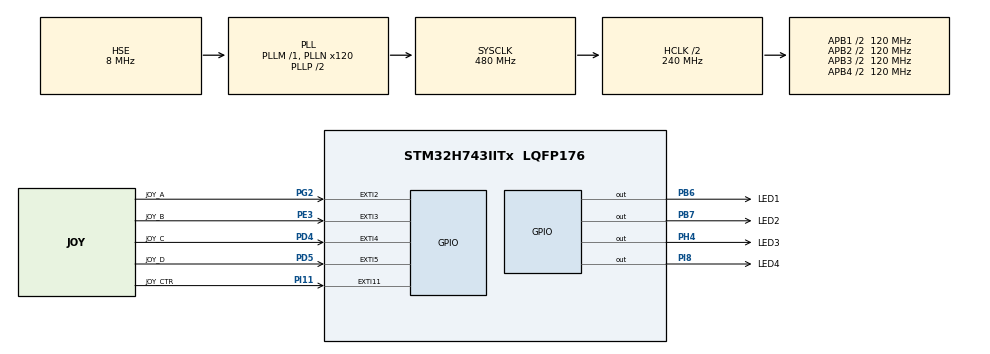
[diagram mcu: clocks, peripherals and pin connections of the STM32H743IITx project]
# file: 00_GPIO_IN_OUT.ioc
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CORTEX_M7.default_mode_Activation=1
Mcu.Family=STM32H7
Mcu.Name=STM32H743IITx
Mcu.Package=LQFP176
NVIC.EXTI15_10_IRQn=true\:0\:0\:false\:false\:true\:true\:true\:true
NVIC.EXTI2_IRQn=true\:0\:0\:false\:false\:true\:true\:true\:true
NVIC.EXTI3_IRQn=true\:0\:0\:false\:false\:true\:true\:true\:true
NVIC.EXTI4_IRQn=true\:0\:0\:false\:false\:true\:true\:true\:true
NVIC.EXTI9_5_IRQn=true\:0\:0\:false\:false\:true\:true\:true\:true
NVIC.PriorityGroup=NVIC_PRIORITYGROUP_4
PB6.GPIO_Label=LED1
PB6.Signal=GPIO_Output
PB7.GPIO_Label=LED2
PB7.Signal=GPIO_Output
PD4.GPIO_Label=JOY_C
PD4.GPIO_ModeDefaultEXTI=GPIO_MODE_IT_FALLING
PD4.GPIO_PuPd=GPIO_PULLUP
PD4.Signal=GPXTI4
PD5.GPIO_Label=JOY_D
PD5.GPIO_ModeDefaultEXTI=GPIO_MODE_IT_FALLING
PD5.GPIO_PuPd=GPIO_PULLUP
PD5.Signal=GPXTI5
PE3.GPIO_Label=JOY_B
PE3.GPIO_ModeDefaultEXTI=GPIO_MODE_IT_FALLING
PE3.GPIO_PuPd=GPIO_PULLUP
PE3.Signal=GPXTI3
PG2.GPIO_Label=JOY_A
PG2.GPIO_ModeDefaultEXTI=GPIO_MODE_IT_FALLING
PG2.GPIO_PuPd=GPIO_PULLUP
PG2.Signal=GPXTI2
PH0-OSC_IN\ (PH0).Mode=HSE-External-Oscillator
PH0-OSC_IN\ (PH0).Signal=RCC_OSC_IN
PH1-OSC_OUT\ (PH1).Mode=HSE-External-Oscillator
PH1-OSC_OUT\ (PH1).Signal=RCC_OSC_OUT
PH4.GPIO_Label=LED3
PH4.Signal=GPIO_Output
PI11.GPIO_Label=JOY_CTR
PI11.GPIO_ModeDefaultEXTI=GPIO_MODE_IT_FALLING
PI11.GPIO_PuPd=GPIO_PULLUP
PI11.Signal=GPXTI11
PI8.GPIO_Label=LED4
PI8.Signal=GPIO_Output
ProjectManager.HeapSize=0x200
ProjectManager.StackSize=0x400
ProjectManager.TargetToolchain=Makefile
RCC.ADCFreq_Value=16125000
RCC.APB1Freq_Value=120000000
RCC.APB2Freq_Value=120000000
RCC.APB3Freq_Value=120000000
RCC.APB4Freq_Value=120000000
RCC.CortexFreq_Value=480000000
RCC.D1PPRE=RCC_APB3_DIV2
RCC.D2PPRE1=RCC_APB1_DIV2
RCC.D2PPRE2=RCC_APB2_DIV2
RCC.D3PPRE=RCC_APB4_DIV2
RCC.DIVM1=1
RCC.DIVN1=120
RCC.HCLKFreq_Value=240000000
RCC.HPRE=RCC_HCLK_DIV2
RCC.HSE_VALUE=8000000
RCC.PLL2FRACN=0
RCC.PLL3FRACN=0
RCC.PLLFRACN=0
RCC.PLLSourceVirtual=RCC_PLLSOURCE_HSE
RCC.PWR_Regulator_Voltage_Scale=PWR_REGULATOR_VOLTAGE_SCALE0
RCC.ProductRev=revV
RCC.SYSCLKFreq_VALUE=480000000
RCC.SYSCLKSource=RCC_SYSCLKSOURCE_PLLCLK
RCC.USBFreq_Value=480000000
VP_MEMORYMAP_VS_MEMORYMAP.Mode=CurAppReg
board=custom

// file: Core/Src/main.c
/* USER CODE BEGIN Header */
/**
  ******************************************************************************
  * @file           : main.c
  * @brief          : Main program body
  ******************************************************************************
  * @attention
  *
  * Copyright (c) 2025 STMicroelectronics.
  * All rights reserved.
  *
  * This software is licensed under terms that can be found in the LICENSE file
  * in the root directory of this software component.
  * If no LICENSE file comes with this software, it is provided AS-IS.
  *
  ******************************************************************************
  */
/* USER CODE END Header */
#include "main.h"
#include "memorymap.h"
#include "gpio.h"

void SystemClock_Config(void);
static void MPU_Config(void);
/* USER CODE BEGIN PFP */
volatile uint8_t led_number = 0;
volatile uint16_t led_freq = 100;

struct {
  uint32_t port;
  uint32_t pin;
}leds[4] = {
  {LED1_GPIO_Port, LED1_Pin},
  {LED2_GPIO_Port, LED2_Pin},
  {LED3_GPIO_Port, LED3_Pin},
  {LED4_GPIO_Port, LED4_Pin}
};
/* USER CODE END PFP */

/* USER CODE BEGIN 0 */
void HAL_GPIO_EXTI_Callback(uint16_t GPIO_Pin)
{

    if (GPIO_Pin == JOY_A_Pin || GPIO_Pin == JOY_D_Pin)
    {
        HAL_GPIO_WritePin(leds[led_number].port, leds[led_number].pin, GPIO_PIN_RESET);

        if(GPIO_Pin == JOY_A_Pin)
            led_number = ((led_number + 1) % 4);
        else
            led_number = ((led_number + 3) % 4);
    }
    else if (GPIO_Pin == JOY_B_Pin || GPIO_Pin == JOY_C_Pin)
    {
        if(GPIO_Pin == JOY_B_Pin)
            led_freq += 100;
        else
        {
            if(led_freq > 100)
                led_freq -= 100;
        }

    }

    else if (GPIO_Pin == JOY_CTR_Pin)
    {
    }
}
/* USER CODE END 0 */

int main(void)
{

  /* MPU Configuration--------------------------------------------------------*/
  MPU_Config();

  /* MCU Configuration--------------------------------------------------------*/

  /* Reset of all peripherals, Initializes the Flash interface and the Systick. */
  HAL_Init();

  /* Configure the system clock */
  SystemClock_Config();

  /* Initialize all configured peripherals */
  MX_GPIO_Init();

  /* Infinite loop */
  while (1)
  {

    /* USER CODE BEGIN 3 */
    HAL_GPIO_TogglePin(leds[led_number].port, leds[led_number].pin);
    HAL_Delay(led_freq);
  }
  /* USER CODE END 3 */
}

void SystemClock_Config(void)
{
  RCC_OscInitTypeDef RCC_OscInitStruct = {0};
  RCC_ClkInitTypeDef RCC_ClkInitStruct = {0};

  /** Supply configuration update enable
  */
  HAL_PWREx_ConfigSupply(PWR_LDO_SUPPLY);

  /** Configure the main internal regulator output voltage
  */
  __HAL_PWR_VOLTAGESCALING_CONFIG(PWR_REGULATOR_VOLTAGE_SCALE0);

  while(!__HAL_PWR_GET_FLAG(PWR_FLAG_VOSRDY)) {}

  /** Initializes the RCC Oscillators according to the specified parameters
  * in the RCC_OscInitTypeDef structure.
  */
  RCC_OscInitStruct.OscillatorType = RCC_OSCILLATORTYPE_HSE;
  RCC_OscInitStruct.HSEState = RCC_HSE_ON;
  RCC_OscInitStruct.PLL.PLLState = RCC_PLL_ON;
  RCC_OscInitStruct.PLL.PLLSource = RCC_PLLSOURCE_HSE;
  RCC_OscInitStruct.PLL.PLLM = 1;
  RCC_OscInitStruct.PLL.PLLN = 120;
  RCC_OscInitStruct.PLL.PLLP = 2;
  RCC_OscInitStruct.PLL.PLLQ = 2;
  RCC_OscInitStruct.PLL.PLLR = 2;
  RCC_OscInitStruct.PLL.PLLRGE = RCC_PLL1VCIRANGE_3;
  RCC_OscInitStruct.PLL.PLLVCOSEL = RCC_PLL1VCOWIDE;
  RCC_OscInitStruct.PLL.PLLFRACN = 0;
  if (HAL_RCC_OscConfig(&RCC_OscInitStruct) != HAL_OK)
  {
    Error_Handler();
  }

  /** Initializes the CPU, AHB and APB buses clocks
  */
  RCC_ClkInitStruct.ClockType = RCC_CLOCKTYPE_HCLK|RCC_CLOCKTYPE_SYSCLK
                              |RCC_CLOCKTYPE_PCLK1|RCC_CLOCKTYPE_PCLK2
                              |RCC_CLOCKTYPE_D3PCLK1|RCC_CLOCKTYPE_D1PCLK1;
  RCC_ClkInitStruct.SYSCLKSource = RCC_SYSCLKSOURCE_PLLCLK;
  RCC_ClkInitStruct.SYSCLKDivider = RCC_SYSCLK_DIV1;
  RCC_ClkInitStruct.AHBCLKDivider = RCC_HCLK_DIV2;
  RCC_ClkInitStruct.APB3CLKDivider = RCC_APB3_DIV2;
  RCC_ClkInitStruct.APB1CLKDivider = RCC_APB1_DIV2;
  RCC_ClkInitStruct.APB2CLKDivider = RCC_APB2_DIV2;
  RCC_ClkInitStruct.APB4CLKDivider = RCC_APB4_DIV2;

  if (HAL_RCC_ClockConfig(&RCC_ClkInitStruct, FLASH_LATENCY_4) != HAL_OK)
  {
    Error_Handler();
  }
}

 /* MPU Configuration */

void MPU_Config(void)
{
  MPU_Region_InitTypeDef MPU_InitStruct = {0};

  /* Disables the MPU */
  HAL_MPU_Disable();

  /** Initializes and configures the Region and the memory to be protected
  */
  MPU_InitStruct.Enable = MPU_REGION_ENABLE;
  MPU_InitStruct.Number = MPU_REGION_NUMBER0;
  MPU_InitStruct.BaseAddress = 0x0;
  MPU_InitStruct.Size = MPU_REGION_SIZE_4GB;
  MPU_InitStruct.SubRegionDisable = 0x87;
  MPU_InitStruct.TypeExtField = MPU_TEX_LEVEL0;
  MPU_InitStruct.AccessPermission = MPU_REGION_NO_ACCESS;
  MPU_InitStruct.DisableExec = MPU_INSTRUCTION_ACCESS_DISABLE;
  MPU_InitStruct.IsShareable = MPU_ACCESS_SHAREABLE;
  MPU_InitStruct.IsCacheable = MPU_ACCESS_NOT_CACHEABLE;
  MPU_InitStruct.IsBufferable = MPU_ACCESS_NOT_BUFFERABLE;

  HAL_MPU_ConfigRegion(&MPU_InitStruct);
  /* Enables the MPU */
  HAL_MPU_Enable(MPU_PRIVILEGED_DEFAULT);

}

void Error_Handler(void)
{
  __disable_irq();
  while (1)
  {
  }
}
